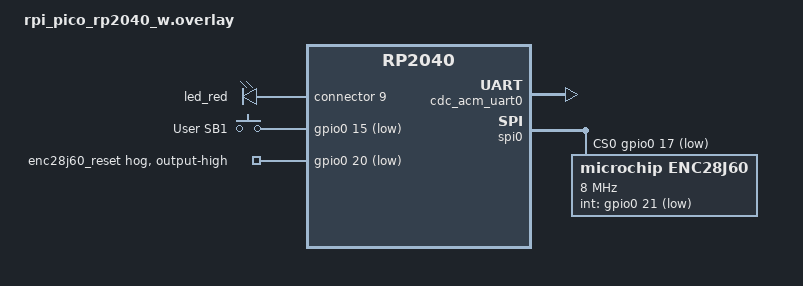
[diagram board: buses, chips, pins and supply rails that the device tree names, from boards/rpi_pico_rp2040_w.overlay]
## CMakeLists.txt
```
cmake_minimum_required(VERSION 3.20.0)

list(APPEND BOARD_ROOT ${CMAKE_CURRENT_SOURCE_DIR}/../)

find_package(Zephyr REQUIRED)
project(my_zephyr_app)

target_sources(app PRIVATE src/main.cpp)
```

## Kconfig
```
menuconfig LED_SUBSYSTEM
    bool "LED Subsystem"
    default y
    help
      Enable or disable the LED subsystem settings.

if LED_SUBSYSTEM

choice
    prompt "LED blink sleep time"
    default BLINK_SLEEP_500MS

config BLINK_SLEEP_1000MS
    bool "Slow (1s)"

config BLINK_SLEEP_500MS
    bool "Medium (0.5s)"

config BLINK_SLEEP_250MS
    bool "High (0.25s)"

endchoice

config BLINK_SLEEP_TIME_MS
    int                 # Hidden value
    default 1000 if BLINK_SLEEP_1000MS
    default 500 if BLINK_SLEEP_500MS
    default 250 if BLINK_SLEEP_250MS
    default 0
    help
      The integer value selected by the choice above.


menuconfig LED_ADVANCED_SETTINGS
    bool "Advanced LED Settings"
    default n

if LED_ADVANCED_SETTINGS

    config LED_BRIGHTNESS
        int "LED Brightness"
        range 0 100
        default 50
        help
          Set the brightness level of the LEDs (0 for off, 100 for full brightness).
    
    config LED_FADE_DURATION_MS
        int "LED Fade Duration (ms)"
        range 0 5000
        default 1000
        help
          Set the duration for LED fade effects in milliseconds.

    menu "Expert settings"

        config LED_DEBUGGING
            bool "Enable LED debugging"

        config LED_BLINK_PATTERN
            string "Custom Blink Pattern"
            default "1010"
            help
              Define a custom blink pattern using a string of 1s and 0s, where '1' represents the LED being on and '0' represents it being off. For example, "1010" would create a pattern of on-off-on-off.
    endmenu

endif   #LED_ADVANCED_SETTINGS
endif   #LED_SUBSYSTEM

menu "Zephyr Settings"
    source "Kconfig.zephyr"
endmenu

rsource "drivers/our_driver/Kconfig"
```

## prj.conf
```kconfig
CONFIG_GPIO=y
CONFIG_LOG=y

CONFIG_USB_CDC_ACM_LOG_LEVEL_OFF=y
CONFIG_USB_DEVICE_LOG_LEVEL_OFF=y


CONFIG_USBD_LOG_LEVEL_OFF=y
CONFIG_UDC_DRIVER_LOG_LEVEL_OFF=y
```

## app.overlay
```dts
/ {
    our_driver0: our_driver0 {
        compatible = "our,driver";
        // led-gpios = < &gpiob 0 GPIO_ACTIVE_HIGH >;      // green
        status = "okay";
    };

    our_driver1: our_driver1 {        
        compatible = "our,driver";
        // led-gpios = < &gpioe 1 GPIO_ACTIVE_HIGH >;      // yellow
        status = "okay";
    };
};
```

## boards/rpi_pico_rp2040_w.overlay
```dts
#include <zephyr/dt-bindings/input/input-event-codes.h>

/ {
    leds {
        compatible = "gpio-leds";
        
        led_red: led_red {
            // gpios = <&gpio0 9 GPIO_ACTIVE_HIGH>;         // Ref by gpio label
            // gpios = <&pico_header 9 GPIO_ACTIVE_HIGH>;   // Ref by connector label
            gpios = <&{/connector} 9 GPIO_ACTIVE_HIGH>;     // Ref by path
        };            
    };

	gpio_keys {
		compatible = "gpio-keys";

		user_button: button_0 {
			gpios = <&gpio0 15 GPIO_ACTIVE_LOW>;
			label = "User SB1";
			zephyr,code = <INPUT_KEY_0>;
		};
	};
    
    aliases {
        status-led = &led_red;
        sw0 = &user_button; 
    };

    chosen {
        zephyr,console    = &cdc_acm_uart0;
        zephyr,shell-uart = &cdc_acm_uart0;
        zephyr,uart-pipe  = &cdc_acm_uart0;
    };
};

&zephyr_udc0 {
    cdc_acm_uart0: cdc_acm_uart0 {
        compatible = "zephyr,cdc-acm-uart";
    };
};    

&gpio0 {
    enc28j60_reset: enc28j60-reset {
        gpio-hog;
        gpios = <20 GPIO_ACTIVE_LOW>;
        output-high;
    };
};

&spi0 {
    cs-gpios = <&gpio0 17 GPIO_ACTIVE_LOW>;
    status = "okay";

    enc28j60: ethernet@0 {
        compatible = "microchip,enc28j60";
        reg = <0>;
        spi-max-frequency = <8000000>;
        int-gpios = <&gpio0 21 GPIO_ACTIVE_LOW>;
        local-mac-address = [00 00 00 01 02 03];
        status = "okay";
    };
};
```

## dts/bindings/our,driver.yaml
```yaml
description: Our simple GPIO driver
compatible: "our,driver"
include: base.yaml  # for status property
```

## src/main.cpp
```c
#include <zephyr/drivers/gpio.h>
#include <zephyr/kernel.h>
#include <zephyr/logging/log.h>

#define SLEEP_TIME_MS 1000

/* The devicetree node identifier for the "led0" alias. */
#define LED_NODE DT_ALIAS(led0)

static const struct gpio_dt_spec led = GPIO_DT_SPEC_GET(LED_NODE, gpios);

LOG_MODULE_REGISTER(main, LOG_LEVEL_INF);

int main(void)
{
    bool led_state = true;

    if (!gpio_is_ready_dt(&led)) return 0;

    if (gpio_pin_configure_dt(&led, GPIO_OUTPUT_ACTIVE) < 0) return 0;

    while (1) {
        if (gpio_pin_toggle_dt(&led) < 0) return 0;

        led_state = !led_state;
        LOG_INF("LED state: %s", led_state ? "ON" : "OFF");        
        k_msleep(SLEEP_TIME_MS);
    }
    return 0;
}
```
